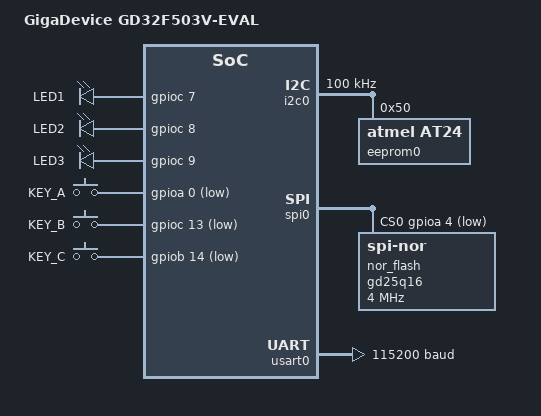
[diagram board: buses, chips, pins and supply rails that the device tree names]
/*
 * Copyright (c) 2025 GigaDevice Semiconductor Inc.
 *
 * SPDX-License-Identifier: Apache-2.0
 */

/dts-v1/;

#include <gd/gd32f50x/gd32f503vg.dtsi>
#include "gd32f503v_eval-pinctrl.dtsi"

/ {
	model = "GigaDevice GD32F503V-EVAL";
	compatible = "gd,gd32f503v-eval";

	chosen {
		zephyr,flash = &flash0;
		zephyr,sram = &sram0;
		zephyr,console = &usart0;
		zephyr,shell-uart = &usart0;
	};

	leds {
		compatible = "gpio-leds";
		led1: led1 {
			gpios = <&gpioc 7 GPIO_ACTIVE_HIGH>;
			label = "LED1";
		};
		led2: led2 {
			gpios = <&gpioc 8 GPIO_ACTIVE_HIGH>;
			label = "LED2";
		};
		led3: led3 {
			gpios = <&gpioc 9 GPIO_ACTIVE_HIGH>;
			label = "LED3";
		};
	};

	gpio_keys {
		compatible = "gpio-keys";
		key_a: key_a {
			label = "KEY_A";
			gpios = <&gpioa 0 GPIO_ACTIVE_LOW>;
		};
		key_b: key_b {
			label = "KEY_B";
			gpios = <&gpioc 13 GPIO_ACTIVE_LOW>;
		};
		key_c: key_c {
			label = "KEY_C";
			gpios = <&gpiob 14 GPIO_ACTIVE_LOW>;
		};
	};

	aliases {
		led0 = &led2;
		sw0 = &key_a;
		eeprom-0 = &eeprom0;
	};
};

&gpioa {
	status = "okay";
};

&gpiob {
	status = "okay";
};

&gpioc {
	status = "okay";
};

&dma0 {
	status = "okay";
};

&dma1 {
	status = "okay";
};

&dmamux {
	status = "okay";
};

&i2c0 {
	status = "okay";
	pinctrl-0 = <&i2c0_default>;
	pinctrl-names = "default";
	dmas = <&dmamux 0 16 0x480>, <&dmamux 1 17 0x440>;
	dma-names = "rx", "tx";
	clock-frequency = <100000>;
	eeprom0: eeprom@50 {
		compatible = "atmel,at24";
		reg = <0x50>;
		status = "okay";
		size = <256>;
		pagesize = <8>;
		address-width = <8>;
		timeout = <5>;
	};
};

&i2c1 {
	status = "disabled";
	pinctrl-0 = <&i2c1_default>;
	pinctrl-names = "default";
	dmas = <&dmamux 2 18 0x480>, <&dmamux 3 19 0x440>;
	dma-names = "rx", "tx";
	clock-frequency = <100000>;
};

&spi0 {
	status = "okay";
	pinctrl-0 = <&spi0_default>;
	pinctrl-names = "default";
	cs-gpios = <&gpioa 4 GPIO_ACTIVE_LOW>;
	dmas = <&dmamux 5 10 0x480>, <&dmamux 6 11 0x440>;
	dma-names = "rx", "tx";
	nor_flash: gd25q16@0 {
		compatible = "jedec,spi-nor";
		size = <0x1000000>;
		reg = <0>;
		spi-max-frequency = <4000000>;
		status = "okay";
		jedec-id = [c8 40 15];
	};
};

&usart0 {
	status = "okay";
	current-speed = <115200>;
	pinctrl-0 = <&usart0_default>;
	pinctrl-names = "default";
	dmas = <&dmamux 0 20 0x480>, <&dmamux 1 21 0x440>;
	dma-names = "rx", "tx";
};
